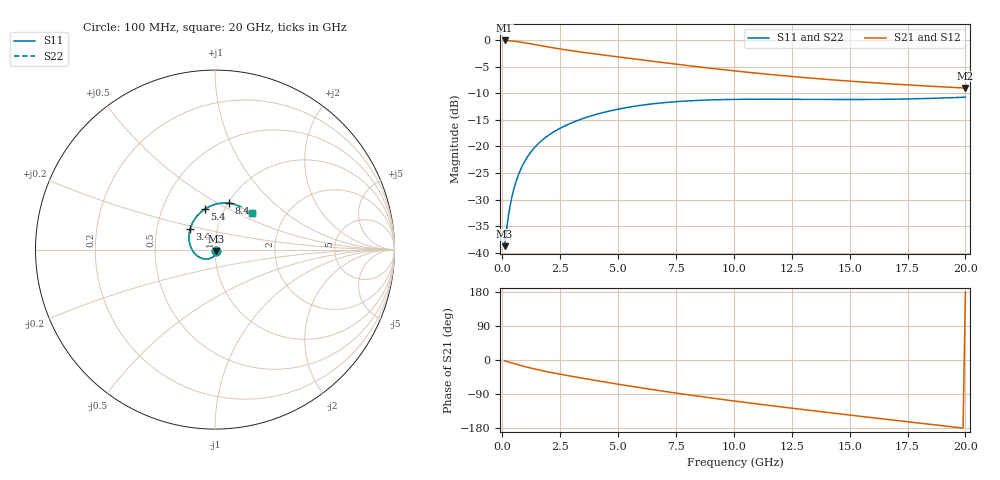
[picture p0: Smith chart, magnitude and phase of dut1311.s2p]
! Touchstone file exported from HFSS 2024.1.0
!  File:  C:/UserFiles/LocalFiles/RDL_TSV_Batchsim/temp_RDL_TSV_1311_1780384724.aedt
!  Generated:  03:32:57 PM Jun  2, 2026
!  Design:  RDL_TSV
!  Project:  temp_RDL_TSV_1311_1780384724
!  Setup:  Setup1
!  Solution:  Sweep
! Variables:
!  dtsv = 14.61um
!  hbump = 3um
!  htsv = 94.63um
!  ldown = 108.65um
!  lrdl = 473.65um
!  p = 40
!  p1 = 55.69um
!  rhole = 10um
!  subl = 2220.55um
!  t = 450um
!  tdown = 4.26um
!  trdl = 4.09um
!  viad = 10um
!  wdown = 14.31um
!  wrdl = 27.08um
!  xbump = 18um
# GHz S MA R 50.000000
! Terminal data exported
! Port[1] = TM1_1_T1
! Port[2] = TM1_4_T1
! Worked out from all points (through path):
!   200 points, 100 MHz to 20 GHz, reference 50 ohm
!   highest |S21| = -0.08 dB at 100 MHz (marker M1); lowest = -9.0 dB at 20 GHz (marker M2)
!   group delay of S21, straight-line fit = 23.4 ps
!   lowest |S11| = -38.8 dB at 100 MHz (marker M3), VSWR 1.02, Z = 50.8 - j0.835 ohm
!   |S11| at or under -10 dB: start of sweep to end of sweep
!   |S22| runs from -38.8 to -10.7 dB; largest |S21 - S12| = 1.1e-14
!   S11 on the Smith chart (normalised r, x): 100 MHz: 1.02, -0.02; 3.4 GHz: 0.74, +0.18; 5.4 GHz: 0.81, +0.39; 8.4 GHz: 1.01, +0.56; 20 GHz: 1.36, +0.61
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0.1  0.01152 -45.5  0.9905 -2.0  0.9905 -2.0  0.01152 -45.5
! Gamma 0 0 0 0
! Port Impedance 50 0 50 0
0.2  0.01766 -69.5  0.9881 -3.9  0.9881 -3.9  0.01766 -69.5
0.3  0.02482 -83.7  0.9845 -5.8  0.9845 -5.8  0.02482 -83.7
0.4  0.03226 -94.1  0.98 -7.6  0.98 -7.6  0.03226 -94.1
0.5  0.03971 -102.7  0.9748 -9.4  0.9748 -9.4  0.03971 -102.7
0.7  0.0542 -117.0  0.962 -12.9  0.962 -12.9  0.0542 -117.0
1  0.07431 -134.8  0.9392 -17.8  0.9392 -17.8  0.07431 -134.8
1.4  0.09783 -154.7  0.9059 -23.7  0.9059 -23.7  0.09785 -154.8
1.9  0.1228 -175.4  0.8659 -30.3  0.8659 -30.3  0.1228 -175.5
2.6  0.1519 161.2  0.8174 -38.6  0.8174 -38.6  0.152 161.2
3.4  0.18 140.3  0.771 -47.4  0.771 -47.4  0.1801 140.3
3.5  0.1832 138.1  0.7657 -48.5  0.7657 -48.5  0.1833 138.0
4.4  0.2091 120.1  0.721 -57.8  0.721 -57.8  0.2094 120.0
5.4  0.2323 104.2  0.676 -67.8  0.676 -67.8  0.2326 104.2
6.8  0.2553 87.2  0.6188 -81.0  0.6188 -81.0  0.2556 87.2
8.4  0.2702 73.0  0.5616 -95.0  0.5616 -95.0  0.2706 73.0
10.1  0.2766 62.3  0.5105 -108.9  0.5105 -108.9  0.277 62.3
11.7  0.2776 55.3  0.471 -121.2  0.471 -121.2  0.278 55.3
13.4  0.2764 50.5  0.4368 -133.8  0.4368 -133.8  0.2768 50.5
15  0.2757 47.7  0.4105 -145.3  0.4105 -145.3  0.2761 47.7
16.7  0.2772 46.2  0.3875 -157.3  0.3875 -157.3  0.2776 46.2
20  0.29 45.1  0.3532 179.5  0.3532 179.5  0.2905 45.2
